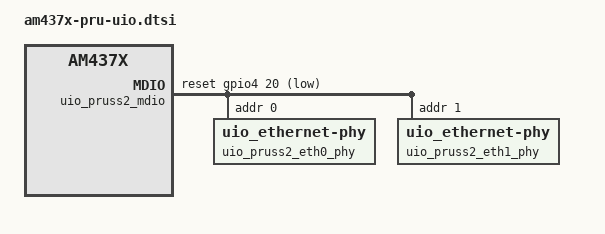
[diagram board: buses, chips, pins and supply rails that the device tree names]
&pruss_soc_bus {
		uio_pruss2_mdio: uio_mdio@32400 {
			compatible = "ti,davinci_mdio";
			reg = <0x32400 0x90>;
			clocks = <&dpll_core_m4_ck>;
			clock-names = "fck";
			bus_freq = <1000000>;
			#address-cells = <1>;
			#size-cells = <0>;
			status = "disabled";
		};

		uio_pruss2_mem: uio_pruss2_mem {
			compatible = "ti,uio-module-drv";
			mem = <0x54400000 0x2000>,
			      <0x54402000 0x2000>,
			      <0x54410000 0x8000>,
			      <0x54420000 0x2000>,
			      <0x54426000 0x2000>,
			      <0x5442e000 0x31c>,
			      <0x54432000 0x58>;
			mem-names = "dram0", "dram1", "shrdram2", "intc", "cfg",
				    "iep", "mii_rt";
			status = "okay";
		};
		uio_pruss2_mem2: uio_pruss2_mem2 {
			compatible = "ti,uio-module-drv";
			mem = <0x54428000 0x38>,
			      <0x54430000 0x60>,
			      <0x54432400 0x90>,
			      <0x40320000 0x20000>;
			mem-names = "uart", "ecap", "mdio", "ocmc";
			status = "okay";
		};
		uio_pruss2_evt0: uio_pruss2_evt0 {
			compatible = "ti,uio-module-drv";
			interrupts = <GIC_SPI 20 IRQ_TYPE_LEVEL_HIGH>;
			interrupt-mode = <1>;
			status = "okay";
		};
		uio_pruss2_evt1: uio_pruss2_evt1 {
			compatible = "ti,uio-module-drv";
			interrupts = <GIC_SPI 21 IRQ_TYPE_LEVEL_HIGH>;
			interrupt-mode = <1>;
			status = "okay";
		};
		uio_pruss2_evt2: uio_pruss2_evt2 {
			compatible = "ti,uio-module-drv";
			interrupts = <GIC_SPI 22 IRQ_TYPE_LEVEL_HIGH>;
			interrupt-mode = <1>;
			status = "okay";
		};
		uio_pruss2_evt3: uio_pruss2_evt3 {
			compatible = "ti,uio-module-drv";
			interrupts = <GIC_SPI 23 IRQ_TYPE_LEVEL_HIGH>;
			interrupt-mode = <1>;
			status = "okay";
		};
		uio_pruss2_evt4: uio_pruss2_evt4 {
			compatible = "ti,uio-module-drv";
			interrupts = <GIC_SPI 24 IRQ_TYPE_LEVEL_HIGH>;
			interrupt-mode = <1>;
			status = "okay";
		};
		uio_pruss2_evt5: uio_pruss2_evt5 {
			compatible = "ti,uio-module-drv";
			interrupts = <GIC_SPI 25 IRQ_TYPE_LEVEL_HIGH>;
			interrupt-mode = <1>;
			status = "okay";
		};
		uio_pruss2_evt6: uio_pruss2_evt6 {
			compatible = "ti,uio-module-drv";
			interrupts = <GIC_SPI 26 IRQ_TYPE_LEVEL_HIGH>;
			interrupt-mode = <1>;
			status = "okay";
		};
		uio_pruss2_evt7: uio_pruss2_evt7 {
			compatible = "ti,uio-module-drv";
			interrupts = <GIC_SPI 27 IRQ_TYPE_LEVEL_HIGH>;
			interrupt-mode = <1>;
			status = "okay";
		};

		uio_pruss2_0_mem: uio_pruss2_0_mem {
			compatible = "ti,uio-module-drv";
			mem = <0x54434000 0x3000>,
			      <0x54422000 0x400>,
			      <0x54422400 0x100>;
			mem-names = "iram", "control", "debug";
			status = "okay";
		};

		uio_pruss2_1_mem: uio_pruss2_1_mem {
			compatible = "ti,uio-module-drv";
			mem = <0x54438000 0x3000>,
			      <0x54424000 0x400>,
			      <0x54424400 0x100>;
			mem-names = "iram", "control", "debug";
			status = "okay";
		};

		uio_pruss1_mem: uio_pruss1_mem {
			compatible = "ti,uio-module-drv";
			mem = <0x54440000 0x1000>,
			      <0x54442000 0x1000>,
			      <0x54450000 0x8000>,
			      <0x54460000 0x2000>,
			      <0x54466000 0x2000>,
			      <0x5446e000 0x31c>,
			      <0x54472000 0x58>;
			mem-names = "dram0", "dram1", "shrdram2", "intc", "cfg",
				    "iep", "mii_rt";
			status = "okay";
		};
		uio_pruss1_mem2: uio_pruss1_mem2 {
			compatible = "ti,uio-module-drv";
			mem = <0x54468000 0x38>,
			      <0x54470000 0x60>,
			      <0x54472400 0x90>,
			      <0x40302000 0x1e000>;
			mem-names = "uart", "ecap", "mdio", "ocmc";
			status = "okay";
		};
		uio_pruss1_evt0: uio_pruss1_evt0 {
			compatible = "ti,uio-module-drv";
			interrupts = <GIC_SPI 159 IRQ_TYPE_LEVEL_HIGH>;
			interrupt-mode = <1>;
			status = "okay";
		};
		uio_pruss1_evt1: uio_pruss1_evt1 {
			compatible = "ti,uio-module-drv";
			interrupts = <GIC_SPI 160 IRQ_TYPE_LEVEL_HIGH>;
			interrupt-mode = <1>;
			status = "okay";
		};
		uio_pruss1_evt2: uio_pruss1_evt2 {
			compatible = "ti,uio-module-drv";
			interrupts = <GIC_SPI 161 IRQ_TYPE_LEVEL_HIGH>;
			interrupt-mode = <1>;
			status = "okay";
		};
		uio_pruss1_evt3: uio_pruss1_evt3 {
			compatible = "ti,uio-module-drv";
			interrupts = <GIC_SPI 162 IRQ_TYPE_LEVEL_HIGH>;
			interrupt-mode = <1>;
			status = "okay";
		};
		uio_pruss1_evt4: uio_pruss1_evt4 {
			compatible = "ti,uio-module-drv";
			interrupts = <GIC_SPI 163 IRQ_TYPE_LEVEL_HIGH>;
			interrupt-mode = <1>;
			status = "okay";
		};
		uio_pruss1_evt5: uio_pruss1_evt5 {
			compatible = "ti,uio-module-drv";
			interrupts = <GIC_SPI 164 IRQ_TYPE_LEVEL_HIGH>;
			interrupt-mode = <1>;
			status = "okay";
		};
		uio_pruss1_evt6: uio_pruss1_evt6 {
			compatible = "ti,uio-module-drv";
			interrupts = <GIC_SPI 165 IRQ_TYPE_LEVEL_HIGH>;
			interrupt-mode = <1>;
			status = "okay";
		};
		uio_pruss1_evt7: uio_pruss1_evt7 {
			compatible = "ti,uio-module-drv";
			interrupts = <GIC_SPI 166 IRQ_TYPE_LEVEL_HIGH>;
			interrupt-mode = <1>;
			status = "okay";
		};

		uio_pruss1_0_mem: uio_pruss1_0_mem {
			compatible = "ti,uio-module-drv";
			mem = <0x54474000 0x1000>,
			      <0x54462000 0x400>,
			      <0x54462400 0x100>;
			mem-names = "iram", "control", "debug";
			status = "okay";
		};
		uio_pruss1_1_mem: uio_pruss1_1_mem {
			compatible = "ti,uio-module-drv";
			mem = <0x54478000 0x1000>,
			      <0x54464000 0x400>,
			      <0x54464400 0x100>;
			mem-names = "iram", "control", "debug";
			status = "okay";
		};
};

&am43xx_pinmux {
	uio_pruss2_mdio_eth_default: uio_pruss2_mdio_eth_default {
		pinctrl-single,pins = <
			AM4372_IOPAD(0x88c, (PIN_OUTPUT | MUX_MODE5))           /* gpmc_clk.pr1_mdio_mdclk */
			AM4372_IOPAD(0xa70, (PIN_INPUT  | MUX_MODE8))           /* xdma_event_intr0.pr1_mdio_data */
			AM4372_IOPAD(0xa00, (PIN_INPUT_PULLUP | MUX_MODE7))     /* cam1_data6.gpio4_20 */
			AM4372_IOPAD(0x8a0, (PIN_INPUT  | MUX_MODE2))   /* dss_data0.pr1_mii_mt0_clk */
			AM4372_IOPAD(0x8b4, (PIN_OUTPUT | MUX_MODE2))   /* dss_data5.pr1_mii0_txd0 */
			AM4372_IOPAD(0x8b0, (PIN_OUTPUT | MUX_MODE2))   /* dss_data4.pr1_mii0_txd1 */
			AM4372_IOPAD(0x8ac, (PIN_OUTPUT | MUX_MODE2))   /* dss_data3.pr1_mii0_txd2 */
			AM4372_IOPAD(0x8a8, (PIN_OUTPUT | MUX_MODE2))   /* dss_data2.pr1_mii0_txd3 */
			AM4372_IOPAD(0x8cc, (PIN_INPUT  | MUX_MODE5))   /* dss_data11.pr1_mii0_rxd0 */
			AM4372_IOPAD(0x8c8, (PIN_INPUT  | MUX_MODE5))   /* dss_data10.pr1_mii0_rxd1 */
			AM4372_IOPAD(0x8c4, (PIN_INPUT  | MUX_MODE5))   /* dss_data9.pr1_mii0_rxd2 */
			AM4372_IOPAD(0x8c0, (PIN_INPUT  | MUX_MODE5))   /* dss_data8.pr1_mii0_rxd3 */
			AM4372_IOPAD(0x8a4, (PIN_OUTPUT | MUX_MODE2))   /* dss_data1.pr1_mii0_txen */
			AM4372_IOPAD(0x8d8, (PIN_INPUT  | MUX_MODE5))   /* dss_data14.pr1_mii_mr0_clk */
			AM4372_IOPAD(0x8dc, (PIN_INPUT  | MUX_MODE5))   /* dss_data15.pr1_mii0_rxdv */
			AM4372_IOPAD(0x8d4, (PIN_INPUT  | MUX_MODE5))   /* dss_data13.pr1_mii0_rxer */
			AM4372_IOPAD(0x8d0, (PIN_INPUT  | MUX_MODE5))   /* dss_data12.pr1_mii0_rxlink */
			AM4372_IOPAD(0xa40, (PIN_INPUT  | MUX_MODE5))   /* gpio5_10.pr1_mii0_crs */
			AM4372_IOPAD(0xa38, (PIN_INPUT  | MUX_MODE5))   /* gpio5_8.pr1_mii0_col */
			AM4372_IOPAD(0x858, (PIN_INPUT  | MUX_MODE5))   /* gpmc_a6.pr1_mii_mt1_clk */
			AM4372_IOPAD(0x854, (PIN_OUTPUT | MUX_MODE5))   /* gpmc_a5.pr1_mii1_txd0 */
			AM4372_IOPAD(0x850, (PIN_OUTPUT | MUX_MODE5))   /* gpmc_a4.pr1_mii1_txd1 */
			AM4372_IOPAD(0x84c, (PIN_OUTPUT | MUX_MODE5))   /* gpmc_a3.pr1_mii1_txd2 */
			AM4372_IOPAD(0x848, (PIN_OUTPUT | MUX_MODE5))   /* gpmc_a2.pr1_mii1_txd3 */
			AM4372_IOPAD(0x86c, (PIN_INPUT  | MUX_MODE5))   /* gpmc_a11.pr1_mii1_rxd0 */
			AM4372_IOPAD(0x868, (PIN_INPUT  | MUX_MODE5))   /* gpmc_a10.pr1_mii1_rxd1 */
			AM4372_IOPAD(0x864, (PIN_INPUT  | MUX_MODE5))   /* gpmc_a9.pr1_mii1_rxd2 */
			AM4372_IOPAD(0x860, (PIN_INPUT  | MUX_MODE5))   /* gpmc_a8.pr1_mii1_rxd3 */
			AM4372_IOPAD(0x840, (PIN_OUTPUT | MUX_MODE5))   /* gpmc_a0.pr1_mii1_txen */
			AM4372_IOPAD(0x85c, (PIN_INPUT  | MUX_MODE5))   /* gpmc_a7.pr1_mii_mr1_clk */
			AM4372_IOPAD(0x844, (PIN_INPUT  | MUX_MODE5))   /* gpmc_a1.pr1_mii1_rxdv */
			AM4372_IOPAD(0x874, (PIN_INPUT  | MUX_MODE5))   /* gpmc_wpn.pr1_mii1_rxer */
			AM4372_IOPAD(0xa4c, (PIN_INPUT  | MUX_MODE5))   /* gpio5_13.pr1_mii1_rxlink */
			AM4372_IOPAD(0xa44, (PIN_INPUT  | MUX_MODE5))   /* gpio5_11.pr1_mii1_crs */
			AM4372_IOPAD(0x878, (PIN_INPUT  | MUX_MODE5))   /* gpmc_be1n.pr1_mii1_col */
		>;
	};
};

&uio_pruss2_mdio {
	pinctrl-0 = <&uio_pruss2_mdio_eth_default>;
	pinctrl-names = "default";
	status = "okay";

	reset-gpios = <&gpio4 20 GPIO_ACTIVE_LOW>;
	reset-delay-us = <2>;   /* PHY datasheet states 1uS min */

	uio_pruss2_eth0_phy: uio_ethernet-phy@0 {
		reg = <0>;
	};

	uio_pruss2_eth1_phy: uio_ethernet-phy@1 {
		reg = <1>;
	};
};

&pruss1 {
	status = "disabled";
};

&pru1_0 {
	status = "disabled";
};

&pru1_1 {
	status = "disabled";
};

&pruss1_intc {
	status = "disabled";
};

&pruss1_mdio {
	status = "disabled";
};

&pruss0 {
	status = "disabled";
};

&pru0_0 {
	status = "disabled";
};

&pru0_1 {
	status = "disabled";
};

&pruss0_intc {
	status = "disabled";
};

&pruss1_emac0 {
	status = "disabled";
};

&pruss1_emac1 {
	status = "disabled";
};
